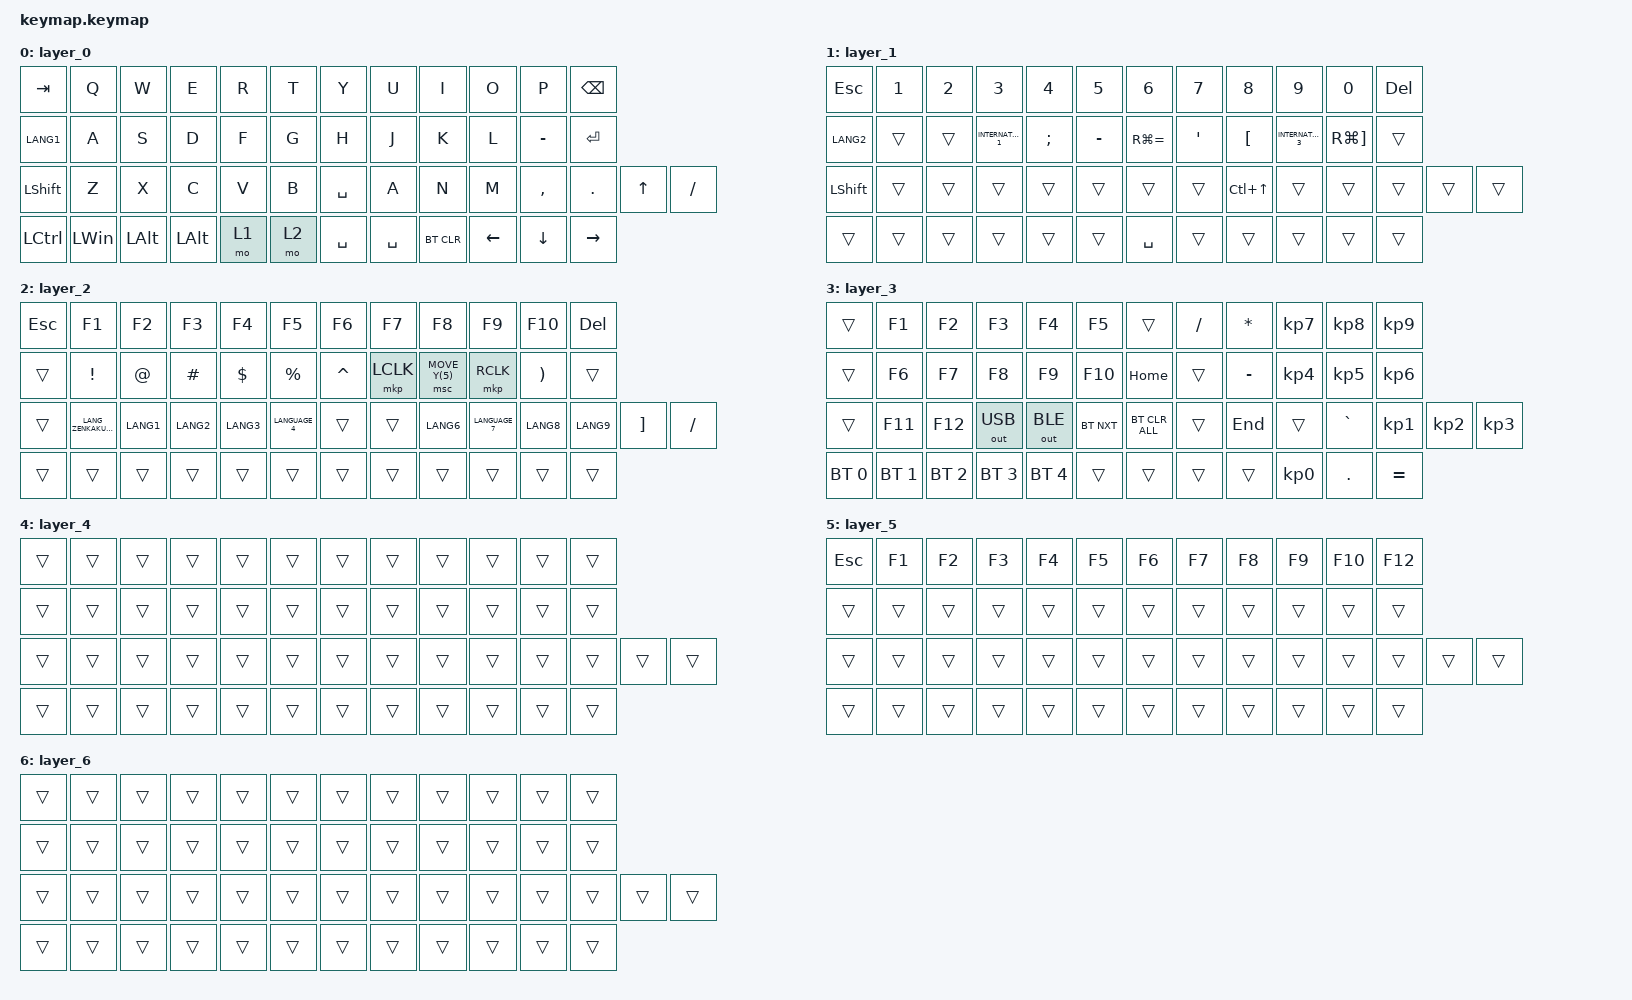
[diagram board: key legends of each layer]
#include <behaviors.dtsi>
#include <dt-bindings/zmk/bt.h>
#include <dt-bindings/zmk/keys.h>
#include <dt-bindings/zmk/outputs.h>
#include <dt-bindings/zmk/pointing.h>

/ {
    combos {
        compatible = "zmk,combos";

        bt_clear {
            bindings = <&bt BT_CLR>;
            key-positions = <28 29>;
            layers = <2>;
        };
    };

    keymap {
        compatible = "zmk,keymap";

        layer_0 {
            bindings = <
&kp TAB    &kp Q         &kp W         &kp E     &kp R  &kp T  &kp Y      &kp U      &kp I       &kp O           &kp P           &kp BSPC
&kp LANG1  &kp A         &kp S         &kp D     &kp F  &kp G  &kp H      &kp J      &kp K       &kp L           &kp MINUS       &kp ENTER
&kp LSHFT  &kp Z         &kp X         &kp C     &kp V  &kp B  &kp SPACE  &kp A      &kp N       &kp M           &kp COMMA       &kp DOT          &kp UP_ARROW  &kp SLASH
&kp LCTRL  &kp LEFT_WIN  &kp LEFT_ALT  &kp LALT  &mo 1  &mo 2  &kp SPACE  &kp SPACE  &bt BT_CLR  &kp LEFT_ARROW  &kp DOWN_ARROW  &kp RIGHT_ARROW
            >;
        };

        layer_1 {
            bindings = <
&kp ESCAPE      &kp NUMBER_1  &kp NUMBER_2  &kp NUMBER_3         &kp NUMBER_4  &kp N5     &kp NUMBER_6   &kp NUMBER_7  &kp NUMBER_8      &kp NUMBER_9         &kp NUMBER_0           &kp DELETE
&kp LANG2       &trans        &trans        &kp INTERNATIONAL_1  &kp SEMI      &kp MINUS  &kp RG(EQUAL)  &kp APOS      &kp LEFT_BRACKET  &kp INTERNATIONAL_3  &kp RG(RIGHT_BRACKET)  &trans
&kp LEFT_SHIFT  &trans        &trans        &trans               &trans        &trans     &trans         &trans        &kp LC(UP_ARROW)  &trans               &trans                 &trans      &trans  &trans
&trans          &trans        &trans        &trans               &trans        &trans     &kp SPACE      &trans        &trans            &trans               &trans                 &trans
            >;
        };

        layer_2 {
            bindings = <
&kp ESCAPE  &kp F1                   &kp F2     &kp F3     &kp F4      &kp F5          &kp F6     &kp F7     &kp F8          &kp F9          &kp F10                &kp DELETE
&trans      &kp EXCL                 &kp AT     &kp HASH   &kp DOLLAR  &kp PRCNT       &kp CARET  &mkp LCLK  &msc MOVE_Y(5)  &mkp RCLK       &kp RIGHT_PARENTHESIS  &trans
&trans      &kp LANG_ZENKAKUHANKAKU  &kp LANG1  &kp LANG2  &kp LANG3   &kp LANGUAGE_4  &trans     &trans     &kp LANG6       &kp LANGUAGE_7  &kp LANG8              &kp LANG9   &kp RIGHT_BRACKET  &kp SLASH
&trans      &trans                   &trans     &trans     &trans      &trans          &trans     &trans     &trans          &trans          &trans                 &trans
            >;
        };

        layer_3 {
            bindings = <
&trans        &kp F1        &kp F2        &kp F3        &kp F4        &kp F5      &trans          &kp FSLH  &kp ASTRK  &kp KP_NUMBER_7  &kp KP_NUMBER_8  &kp KP_NUMBER_9
&trans        &kp F6        &kp F7        &kp F8        &kp F9        &kp F10     &kp HOME        &trans    &kp MINUS  &kp KP_NUMBER_4  &kp KP_NUMBER_5  &kp KP_NUMBER_6
&trans        &kp F11       &kp F12       &out OUT_USB  &out OUT_BLE  &bt BT_NXT  &bt BT_CLR_ALL  &trans    &kp END    &trans           &kp GRAVE        &kp KP_NUMBER_1  &kp KP_NUMBER_2  &kp KP_NUMBER_3
&bt BT_SEL 0  &bt BT_SEL 1  &bt BT_SEL 2  &bt BT_SEL 3  &bt BT_SEL 4  &trans      &trans          &trans    &trans     &kp KP_NUMBER_0  &kp DOT          &kp EQUAL
            >;
        };

        layer_4 {
            bindings = <
&trans  &trans  &trans  &trans  &trans  &trans  &trans  &trans  &trans  &trans  &trans  &trans
&trans  &trans  &trans  &trans  &trans  &trans  &trans  &trans  &trans  &trans  &trans  &trans
&trans  &trans  &trans  &trans  &trans  &trans  &trans  &trans  &trans  &trans  &trans  &trans  &trans  &trans
&trans  &trans  &trans  &trans  &trans  &trans  &trans  &trans  &trans  &trans  &trans  &trans
            >;
        };

        layer_5 {
            bindings = <
&kp ESC  &kp F1  &kp F2  &kp F3  &kp F4  &kp F5  &kp F6  &kp F7  &kp F8  &kp F9  &kp F10  &kp F12
&trans   &trans  &trans  &trans  &trans  &trans  &trans  &trans  &trans  &trans  &trans   &trans
&trans   &trans  &trans  &trans  &trans  &trans  &trans  &trans  &trans  &trans  &trans   &trans   &trans  &trans
&trans   &trans  &trans  &trans  &trans  &trans  &trans  &trans  &trans  &trans  &trans   &trans
            >;
        };

        layer_6 {
            bindings = <
&trans  &trans  &trans  &trans  &trans  &trans  &trans  &trans  &trans  &trans  &trans  &trans
&trans  &trans  &trans  &trans  &trans  &trans  &trans  &trans  &trans  &trans  &trans  &trans
&trans  &trans  &trans  &trans  &trans  &trans  &trans  &trans  &trans  &trans  &trans  &trans  &trans  &trans
&trans  &trans  &trans  &trans  &trans  &trans  &trans  &trans  &trans  &trans  &trans  &trans
            >;
        };
    };
};
